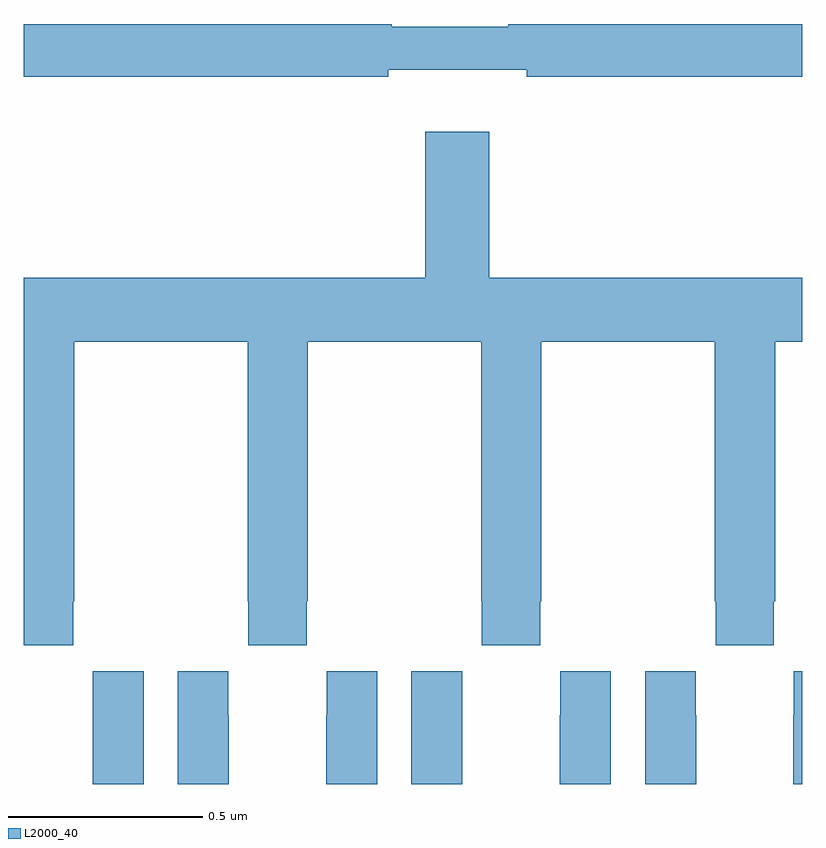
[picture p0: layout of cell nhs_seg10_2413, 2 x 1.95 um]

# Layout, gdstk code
import gdstk
lib = gdstk.Library(unit=1e-6, precision=1e-09)
def P(c, l, *ps):  # polygons
    for p in ps: c.add(gdstk.Polygon(p, *l))
L2000_40 = (2000, 40)

nhs_seg10_2413 = lib.new_cell('nhs_seg10_2413')
P(nhs_seg10_2413, L2000_40, [(140.936,1314.335),(141.292,1314.335),(141.292,1314.316),(142,1314.316),(142,1314.452),(141.245,1314.452),(141.245,1314.445),(140.945,1314.445),(140.945,1314.452),(140,1314.452),(140,1314.316),(140.936,1314.316)],
  [(140.127,1312.969),(140.13,1312.969),(140.13,1313.636),(140.575,1313.636),(140.575,1312.969),(140.577,1312.969),(140.577,1312.857),(140.727,1312.857),(140.727,1312.969),(140.73,1312.969),(140.73,1313.636),(141.175,1313.636),(141.175,1312.969),(141.177,1312.969),(141.177,1312.857),(141.327,1312.857),(141.327,1312.969),(141.33,1312.969),(141.33,1313.636),(141.775,1313.636),(141.775,1312.969),(141.777,1312.969),(141.777,1312.857),(141.927,1312.857),(141.927,1312.969),(141.93,1312.969),(141.93,1313.636),(142,1313.636),(142,1313.8),(141.196,1313.8),(141.196,1314.175),(141.032,1314.175),(141.032,1313.8),(140,1313.8),(140,1312.857),(140.127,1312.857)],
  [(142,1312.789),(141.978,1312.789),(141.978,1312.676),(141.977,1312.676),(141.977,1312.5),(142,1312.5)],
  [(140.308,1312.789),(140.178,1312.789),(140.178,1312.676),(140.177,1312.676),(140.177,1312.5),(140.308,1312.5)],
  [(140.527,1312.676),(140.526,1312.676),(140.526,1312.789),(140.396,1312.789),(140.396,1312.5),(140.527,1312.5)],
  [(140.908,1312.789),(140.778,1312.789),(140.778,1312.676),(140.777,1312.676),(140.777,1312.5),(140.908,1312.5)],
  [(141.127,1312.676),(141.126,1312.676),(141.126,1312.789),(140.996,1312.789),(140.996,1312.5),(141.127,1312.5)],
  [(141.508,1312.789),(141.378,1312.789),(141.378,1312.676),(141.377,1312.676),(141.377,1312.5),(141.508,1312.5)],
  [(141.727,1312.676),(141.726,1312.676),(141.726,1312.789),(141.596,1312.789),(141.596,1312.5),(141.727,1312.5)])

lib.write_gds('nhs_seg10_2413.gds')
